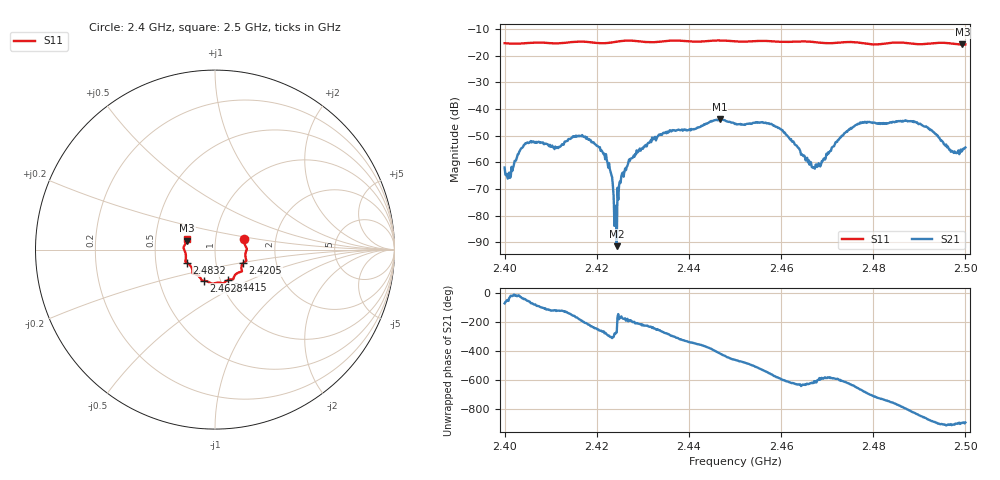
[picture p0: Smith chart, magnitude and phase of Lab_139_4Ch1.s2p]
# Hz S RI R 50
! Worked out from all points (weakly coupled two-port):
!   601 points, 2.4 GHz to 2.5 GHz, reference 50 ohm
!   highest |S21| = -43.75 dB at 2.4467 GHz (marker M1); lowest = -91.5 dB at 2.4243 GHz (marker M2)
!   lowest |S11| = -15.7 dB at 2.4993 GHz (marker M3), VSWR 1.39, Z = 36.4 + j3.68 ohm
!   |S11| at or under -10 dB: start of sweep to end of sweep
!   S12 and S22 are empty: the file has one direction only
!   S11 on the Smith chart (normalised r, x): 2.4 GHz: 1.38, +0.16; 2.4205 GHz: 1.35, -0.21; 2.4415 GHz: 1.09, -0.38; 2.4628 GHz: 0.83, -0.30; 2.4832 GHz: 0.72, -0.11; 2.5 GHz: 0.73, +0.09
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2.4e9  0.163 0.0563  0.000253 -0.000757  0 0  0 0
2.401167e9  0.1637 0.045  0.000447 -0.000244  0 0  0 0
2.404667e9  0.1726 0.0149  0.00148 -0.0017  0 0  0 0
2.416667e9  0.1742 -0.0626  -0.00303 0.000599  0 0  0 0
2.4205e9  0.1553 -0.0763  -0.000431 0.00186  0 0  0 0
2.4225e9  0.1475 -0.0935  0.000314 0.000728  0 0  0 0
2.424333e9  0.148 -0.11  7.18e-07 2.66e-05  0 0  0 0
2.425333e9  0.1495 -0.1165  -0.00052 -0.000174  0 0  0 0
2.427167e9  0.1494 -0.1222  -0.00104 0.000193  0 0  0 0
2.433333e9  0.1078 -0.1472  -0.000848 0.00304  0 0  0 0
2.4415e9  0.0733 -0.1692  0.00421 0.000873  0 0  0 0
2.446667e9  0.0461 -0.1887  0.00368 -0.00535  0 0  0 0
2.45e9  0.0296 -0.1848  -0.000835 -0.00517  0 0  0 0
2.457667e9  -0.0226 -0.1873  -0.00505 0.00135  0 0  0 0
2.462833e9  -0.0621 -0.1737  -0.000313 0.0023  0 0  0 0
2.466667e9  -0.0766 -0.1666  -0.000193 0.000787  0 0  0 0
2.476167e9  -0.1261 -0.128  0.00135 0.00482  0 0  0 0
2.483167e9  -0.1553 -0.0752  0.005 -0.00209  0 0  0 0
2.483333e9  -0.1564 -0.0744  0.005 -0.00213  0 0  0 0
2.489167e9  -0.1617 -0.0397  -0.00164 -0.00545  0 0  0 0
2.499333e9  -0.1556 0.0492  -0.00164 -0.000241  0 0  0 0
2.5e9  -0.1533 0.0579  -0.00187 -0.000348  0 0  0 0
